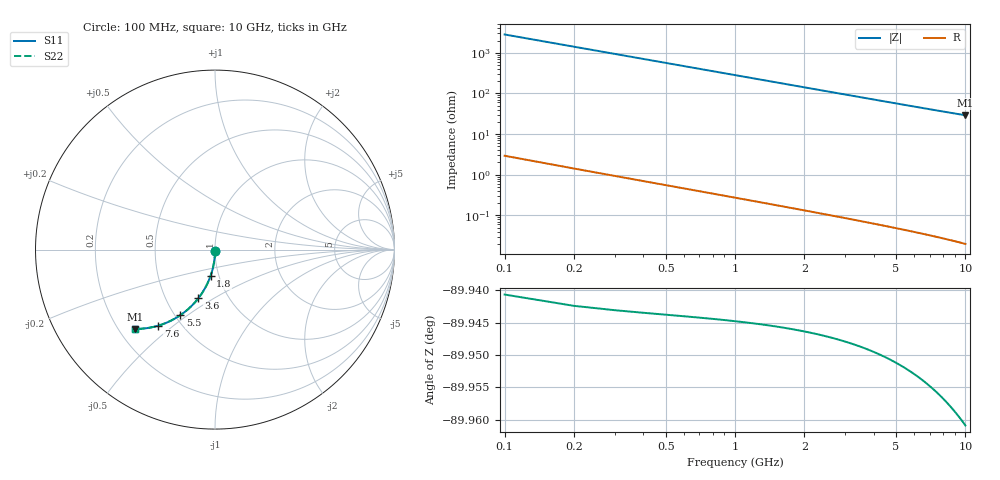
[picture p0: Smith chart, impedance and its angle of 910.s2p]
# Hz S RI R 50.00
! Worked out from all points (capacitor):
!   100 points, 100 MHz to 10 GHz, reference 50 ohm
!   read as one part in shunt: C = 563 fF near 100 MHz
!   lowest |Z| = 29 ohm at 10 GHz (marker M1)
!   S11 on the Smith chart (normalised r, x): 100 MHz: 1.00, -0.02; 1.8 GHz: 0.91, -0.27; 3.6 GHz: 0.73, -0.43; 5.5 GHz: 0.53, -0.47; 7.6 GHz: 0.38, -0.44; 10 GHz: 0.26, -0.39
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1e8  0.000292 -0.0083  0.9995 -0.00938  0.9995 -0.00938  0.000292 -0.0083
2e8  5.21e-05 -0.0166  0.9993 -0.0188  0.9993 -0.0188  5.21e-05 -0.0166
3e8  -0.000344 -0.0249  0.9989 -0.0281  0.9989 -0.0281  -0.000344 -0.0249
4e8  -0.000895 -0.0332  0.9983 -0.0375  0.9983 -0.0375  -0.000895 -0.0332
5e8  -0.0016 -0.0414  0.9976 -0.0468  0.9976 -0.0468  -0.0016 -0.0414
6e8  -0.00246 -0.0497  0.9967 -0.0561  0.9967 -0.0561  -0.00246 -0.0497
8e8  -0.00464 -0.0661  0.9945 -0.0747  0.9945 -0.0747  -0.00464 -0.0661
1.1e9  -0.00905 -0.0904  0.9901 -0.1023  0.9901 -0.1023  -0.00905 -0.0904
1.4e9  -0.0148 -0.1144  0.9843 -0.1295  0.9843 -0.1295  -0.0148 -0.1144
1.8e9  -0.0244 -0.1456  0.9746 -0.1651  0.9746 -0.1651  -0.0244 -0.1456
2.1e9  -0.0331 -0.1683  0.9659 -0.191  0.9659 -0.191  -0.0331 -0.1683
2.5e9  -0.0464 -0.1975  0.9525 -0.2245  0.9525 -0.2245  -0.0464 -0.1975
2.9e9  -0.0615 -0.2253  0.9372 -0.2567  0.9372 -0.2567  -0.0615 -0.2253
3.4e9  -0.0828 -0.2579  0.9157 -0.2947  0.9157 -0.2947  -0.0828 -0.2579
3.6e9  -0.092 -0.2702  0.9064 -0.3091  0.9064 -0.3091  -0.092 -0.2702
4.3e9  -0.1266 -0.3098  0.8714 -0.3564  0.8714 -0.3564  -0.1266 -0.3098
5.1e9  -0.1699 -0.3484  0.8278 -0.4037  0.8278 -0.4037  -0.1699 -0.3484
5.5e9  -0.1925 -0.3649  0.8049 -0.4246  0.8049 -0.4246  -0.1925 -0.3649
6.7e9  -0.2623 -0.4038  0.7342 -0.4768  0.7342 -0.4768  -0.2623 -0.4038
7.6e9  -0.3148 -0.4233  0.6809 -0.5062  0.6809 -0.5062  -0.3148 -0.4233
8.4e9  -0.3604 -0.4344  0.6345 -0.5262  0.6345 -0.5262  -0.3604 -0.4344
1e10  -0.4461 -0.4419  0.5469 -0.5519  0.5469 -0.5519  -0.4461 -0.4419
